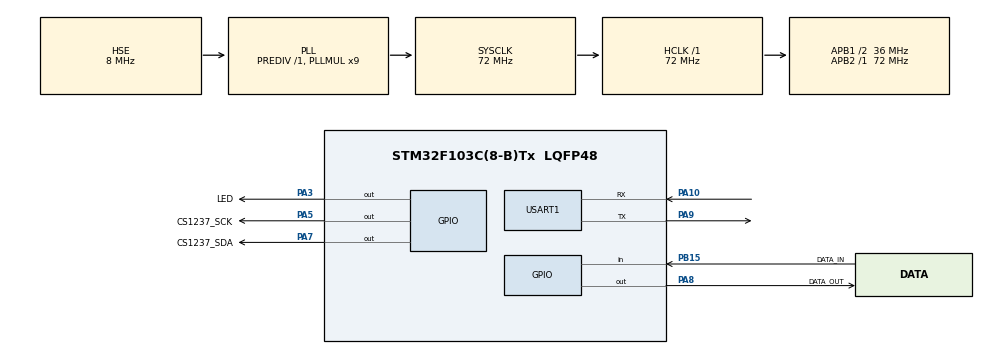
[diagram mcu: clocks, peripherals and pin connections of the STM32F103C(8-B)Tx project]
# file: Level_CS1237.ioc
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IWDG.Prescaler=IWDG_PRESCALER_64
IWDG.Reload=625
Mcu.Family=STM32F1
Mcu.Name=STM32F103C(8-B)Tx
Mcu.Package=LQFP48
NVIC.PriorityGroup=NVIC_PRIORITYGROUP_4
NVIC.USART1_IRQn=true\:0\:0\:false\:false\:true\:true\:true\:true
PA10.Mode=Asynchronous
PA10.Signal=USART1_RX
PA13.Mode=Serial_Wire
PA13.Signal=SYS_JTMS-SWDIO
PA14.Mode=Serial_Wire
PA14.Signal=SYS_JTCK-SWCLK
PA3.GPIO_Label=LED
PA3.Signal=GPIO_Output
PA5.GPIO_Label=CS1237_SCK
PA5.Signal=GPIO_Output
PA7.GPIO_Label=CS1237_SDA
PA7.Signal=GPIO_Output
PA8.GPIO_Label=DATA_OUT
PA8.Signal=GPIO_Output
PA9.Mode=Asynchronous
PA9.Signal=USART1_TX
PB15.GPIO_Label=DATA_IN
PB15.Signal=GPIO_Input
PD0-OSC_IN.Mode=HSE-External-Oscillator
PD0-OSC_IN.Signal=RCC_OSC_IN
PD1-OSC_OUT.Mode=HSE-External-Oscillator
PD1-OSC_OUT.Signal=RCC_OSC_OUT
ProjectManager.HeapSize=0x200
ProjectManager.StackSize=0x400
ProjectManager.TargetToolchain=MDK-ARM V5.32
RCC.AHBFreq_Value=72000000
RCC.APB1CLKDivider=RCC_HCLK_DIV2
RCC.APB1Freq_Value=36000000
RCC.APB1TimFreq_Value=72000000
RCC.APB2Freq_Value=72000000
RCC.APB2TimFreq_Value=72000000
RCC.HCLKFreq_Value=72000000
RCC.PLLMUL=RCC_PLL_MUL9
RCC.PLLSourceVirtual=RCC_PLLSOURCE_HSE
RCC.SYSCLKFreq_VALUE=72000000
RCC.SYSCLKSource=RCC_SYSCLKSOURCE_PLLCLK
RCC.USBFreq_Value=72000000
USART1.VirtualMode=VM_ASYNC
VP_IWDG_VS_IWDG.Mode=IWDG_Activate
board=custom

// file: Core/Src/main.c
/* USER CODE BEGIN Header */
/**
  ******************************************************************************
  * @file           : main.c
  * @brief          : Main program body
  ******************************************************************************
  * @attention
  *
  * Copyright (c) 2025 STMicroelectronics.
  * All rights reserved.
  *
  * This software is licensed under terms that can be found in the LICENSE file
  * in the root directory of this software component.
  * If no LICENSE file comes with this software, it is provided AS-IS.
  *
  ******************************************************************************
  */
/* USER CODE END Header */
#include "main.h"
#include "iwdg.h"
#include "usart.h"
#include "gpio.h"

/* USER CODE BEGIN Includes */
#include "stdio.h"
#include "delay.h"
#include "cs1237.h"
/* USER CODE END Includes */

/* USER CODE BEGIN PD */
#define TRIGGER_THRESHOLD   1000   //压力差阈值
#define VOLTAGE_THRESHOLD   1.25   //电压差阈值 Voltage
/* USER CODE END PD */

void SystemClock_Config(void);

/* USER CODE BEGIN 0 */
uint8_t flag_sign = 0; //压力值符号，代表正反压力值
uint16_t emaWeight = 0; //滤波后的重量
/* USER CODE END 0 */

int main(void)
{

  /* MCU Configuration--------------------------------------------------------*/

  /* Reset of all peripherals, Initializes the Flash interface and the Systick. */
  HAL_Init();

  /* Configure the system clock */
  SystemClock_Config();

  /* USER CODE BEGIN SysInit */
    delay_init(72);
  /* USER CODE END SysInit */

  /* Initialize all configured peripherals */
  MX_GPIO_Init();
  MX_USART1_UART_Init();
  MX_IWDG_Init();
  /* USER CODE BEGIN 2 */
    CS1237_init();
    delay_ms(500);

#if USE_PRINTF_MSG
    printf("Init finshed --------------------\n\r");
#endif

    uint8_t speed_sel = SpeedSelct_640HZ;
    uint8_t pga_sel = PGA_64;
    CS1237_WriteConfig(RefOut_ON | speed_sel | pga_sel | CH_A);
    delay_ms(300);
    IWDG_Feed(); //喂狗

#if USE_PRINTF_MSG
    //读取并输出配置
    uint8_t config = CS1237_ReadConfig();
    CS1237_ReadConfigOutput(config);
    delay_ms(200);
#endif

    int d_value;
    uint32_t data_zero = 0,cs1237_data = 0;
    uint32_t max_data = 0,min_data = 0,sum_data = 0;
    uint8_t value_count = 0;
    uint8_t trigger_count = 0;
    data_zero = CS1237_ReadData(); //获取首次数据
    max_data = data_zero;
    min_data = data_zero;
    IWDG_Feed(); //喂狗

#if CODE_TEST //测试使用
    delay_ms(100);
    data_zero = CS1237_ReadData();
    delay_ms(200);
    uint16_t k = 1;
    uint16_t w;
    while(k < 200)
    {
        cs1237_data = CS1237_ReadData();
//        w = (cs1237_data - data_zero) / k;
        w = cs1237_data > data_zero ? cs1237_data - data_zero : data_zero - cs1237_data;
        printf("k = %d ,data = %u, weight = %u \n\r",flag_sign,cs1237_data, w);
        delay_ms(500);
        k += 1;
        data_zero = cs1237_data;
    }
#endif

  /* USER CODE END 2 */

  /* Infinite loop */
    while (1)
    {

    /* USER CODE BEGIN 3 */

        cs1237_data = CS1237_ReadData();
        d_value = data_zero > cs1237_data ? data_zero - cs1237_data : cs1237_data - data_zero;
        if(cs1237_data != 0)
        {
            if(d_value > TRIGGER_THRESHOLD)
            {
                trigger_count += 1;
                if(trigger_count == 2)
                {
                    ENDSTOP_DATA_OUT(1);
                    LED_OUT(1);
                    delay_ms(450);
#if USE_PRINTF_MSG
                printf("Difference = %d \n\r", d_value);
#endif
                    LED_OUT(0);
                    ENDSTOP_DATA_OUT(0);
                    delay_ms(100);
                }
                value_count = 0;
                sum_data = 0;
                max_data = data_zero;
                min_data = data_zero;
            }
            else{
                value_count += 1;
                sum_data += cs1237_data;
                if(max_data < cs1237_data) max_data = cs1237_data;
                else if(min_data > cs1237_data) min_data = cs1237_data;
                if(value_count > 16){
                    value_count = 0;
                    data_zero = (sum_data - max_data - min_data)  / 14;
                    sum_data = 0;
                    max_data = data_zero;
                    min_data = data_zero;
                }
                trigger_count = 0;
                IWDG_Feed(); //喂狗
            }

        }

        switch(speed_sel)
        {
            case SpeedSelct_10HZ: delay_ms(100);break;
            case SpeedSelct_40HZ: delay_ms(30);break;
            case SpeedSelct_640HZ: delay_ms(6);break;
            case SpeedSelct_1280HZ: delay_ms(5);break;
        }

#if CODE_TEST
        printf("Difference = %d \n\r", d_value);
        delay_ms(500);
        ENDSTOP_DATA_OUT(1);
        LED_OUT(1);
        delay_ms(500);
        ENDSTOP_DATA_OUT(0);
        LED_OUT(0);
#endif
    }
  /* USER CODE END 3 */
}

void SystemClock_Config(void)
{
  RCC_OscInitTypeDef RCC_OscInitStruct = {0};
  RCC_ClkInitTypeDef RCC_ClkInitStruct = {0};

  /** Initializes the RCC Oscillators according to the specified parameters
  * in the RCC_OscInitTypeDef structure.
  */
  RCC_OscInitStruct.OscillatorType = RCC_OSCILLATORTYPE_LSI|RCC_OSCILLATORTYPE_HSE;
  RCC_OscInitStruct.HSEState = RCC_HSE_ON;
  RCC_OscInitStruct.HSEPredivValue = RCC_HSE_PREDIV_DIV1;
  RCC_OscInitStruct.HSIState = RCC_HSI_ON;
  RCC_OscInitStruct.LSIState = RCC_LSI_ON;
  RCC_OscInitStruct.PLL.PLLState = RCC_PLL_ON;
  RCC_OscInitStruct.PLL.PLLSource = RCC_PLLSOURCE_HSE;
  RCC_OscInitStruct.PLL.PLLMUL = RCC_PLL_MUL9;
  if (HAL_RCC_OscConfig(&RCC_OscInitStruct) != HAL_OK)
  {
    Error_Handler();
  }

  /** Initializes the CPU, AHB and APB buses clocks
  */
  RCC_ClkInitStruct.ClockType = RCC_CLOCKTYPE_HCLK|RCC_CLOCKTYPE_SYSCLK
                              |RCC_CLOCKTYPE_PCLK1|RCC_CLOCKTYPE_PCLK2;
  RCC_ClkInitStruct.SYSCLKSource = RCC_SYSCLKSOURCE_PLLCLK;
  RCC_ClkInitStruct.AHBCLKDivider = RCC_SYSCLK_DIV1;
  RCC_ClkInitStruct.APB1CLKDivider = RCC_HCLK_DIV2;
  RCC_ClkInitStruct.APB2CLKDivider = RCC_HCLK_DIV1;

  if (HAL_RCC_ClockConfig(&RCC_ClkInitStruct, FLASH_LATENCY_2) != HAL_OK)
  {
    Error_Handler();
  }
}

void Error_Handler(void)
{
  __disable_irq();
  while (1)
  {
  }
}
